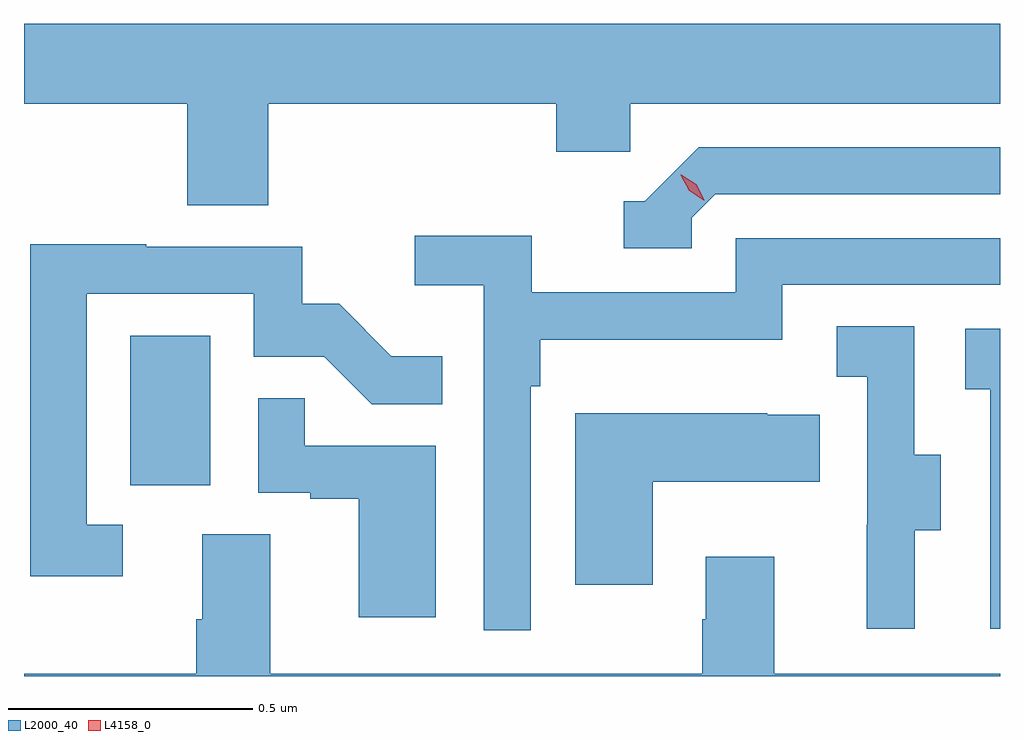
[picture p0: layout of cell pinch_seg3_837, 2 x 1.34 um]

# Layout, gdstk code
import gdstk
lib = gdstk.Library(unit=1e-6, precision=1e-09)
def R(c, l, rs):  # rectangles x0, y0, x1, y1
    for r in rs: c.add(gdstk.rectangle(r[:2], r[2:], *l))
def P(c, l, *ps):  # polygons
    for p in ps: c.add(gdstk.Polygon(p, *l))
L2000_40 = (2000, 40)
L4158_0 = (4158, 0)

pinch_seg3_837 = lib.new_cell('pinch_seg3_837')
R(pinch_seg3_837, L2000_40, [(875.054,726.774,875.218,727.081)])
P(pinch_seg3_837, L2000_40, [(875.336,727.556),(875.927,727.556),(875.927,727.458),(876.078,727.458),(876.078,727.556),(876.836,727.556),(876.836,727.72),(874.836,727.72),(874.836,727.556),(875.171,727.556),(875.171,727.348),(875.336,727.348)],
  [(876.204,727.323),(876.252,727.371),(876.836,727.371),(876.836,727.467),(876.219,727.467),(876.108,727.356),(876.065,727.356),(876.065,727.26),(876.204,727.26)],
  [(875.874,726.977),(875.894,726.977),(875.894,727.073),(876.39,727.073),(876.39,727.185),(876.836,727.185),(876.836,727.281),(876.294,727.281),(876.294,727.17),(875.876,727.17),(875.876,727.286),(875.637,727.286),(875.637,727.184),(875.778,727.184),(875.778,726.477),(875.874,726.477)],
  [(875.038,726.693),(874.965,726.693),(874.965,727.167),(875.307,727.167),(875.307,727.038),(875.451,727.038),(875.549,726.94),(875.693,726.94),(875.693,727.039),(875.589,727.039),(875.482,727.146),(875.406,727.146),(875.406,727.263),(875.087,727.263),(875.087,727.268),(874.849,727.268),(874.849,726.588),(875.038,726.588)],
  [(876.661,726.682),(876.715,726.682),(876.715,726.837),(876.66,726.837),(876.66,727.1),(876.501,727.1),(876.501,726.997),(876.564,726.997),(876.564,726.693),(876.563,726.693),(876.563,726.48),(876.661,726.48)],
  [(876.836,727.095),(876.765,727.095),(876.765,726.971),(876.816,726.971),(876.816,726.48),(876.836,726.48)],
  [(875.68,726.855),(875.411,726.855),(875.411,726.953),(875.316,726.953),(875.316,726.759),(875.423,726.759),(875.423,726.747),(875.522,726.747),(875.522,726.504),(875.68,726.504)],
  [(876.124,726.782),(876.467,726.782),(876.467,726.919),(876.359,726.919),(876.359,726.922),(875.966,726.922),(875.966,726.57),(876.124,726.57)],
  [(876.836,726.388),(876.373,726.388),(876.373,726.628),(876.233,726.628),(876.233,726.5),(876.226,726.5),(876.226,726.388),(875.341,726.388),(875.341,726.674),(875.201,726.674),(875.201,726.5),(875.189,726.5),(875.189,726.388),(874.836,726.388),(874.836,726.383),(876.836,726.383)])
P(pinch_seg3_837, L4158_0, [(876.229,727.358),(876.199,727.378),(876.182,727.41),(876.182,727.411),(876.183,727.411),(876.214,727.391),(876.23,727.359),(876.23,727.358)])

lib.write_gds('pinch_seg3_837.gds')
